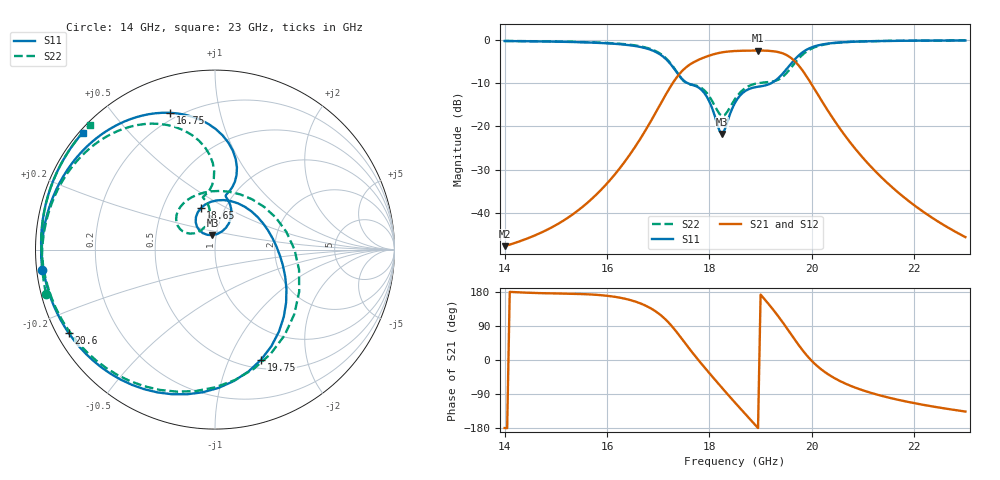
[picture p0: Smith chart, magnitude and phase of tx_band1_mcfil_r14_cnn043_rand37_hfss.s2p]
! Touchstone file exported from HFSS 3D Layout Design 2026.1.0
!  File:  D:/Work/SIM/ADS_AUTO_SIM/projects/RFSOC_RF/TX_Fillter.aedt
!  Generated:  12:44:10 AM Aug 31, 2026
!  Design:  TX_BAND1_MCFIL_R14_CNN043
!  Project:  TX_Fillter
# GHz S MA R 50.000000
! Terminal data exported
! Port[1] = Port1
! Port[2] = Port2
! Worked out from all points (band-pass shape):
!   181 points, 14 GHz to 23 GHz, reference 50 ohm
!   highest |S21| = -2.46 dB at 18.95 GHz (marker M1); lowest = -47.6 dB at 14 GHz (marker M2)
!   |S21| within 3 dB of the highest: 17.65 GHz to 19.71 GHz (2.061 GHz wide, 11 % of centre)
!   lowest |S11| = -21.7 dB at 18.25 GHz (marker M3), VSWR 1.18, Z = 48 + j7.79 ohm
!   |S11| at or under -10 dB: 17.58 GHz to 19.21 GHz (1.629 GHz wide, 8.86 % of centre)
!   |S22| runs from -17.6 to -0.1 dB; largest |S21 - S12| = 4.7e-14
!   S11 on the Smith chart (normalised r, x): 14 GHz: 0.02, -0.06; 16.75 GHz: 0.17, +0.71; 18.65 GHz: 0.77, +0.38; 19.75 GHz: 0.60, -1.32; 20.6 GHz: 0.03, -0.27; 23 GHz: 0.01, +0.38
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14  0.9699 -173.4  0.004153 -179.4  0.004153 -179.4  0.9729 -165.4
15.5  0.9388 154.3  0.01151 174.0  0.01151 174.0  0.9455 164.3
16.2  0.8964 132.9  0.03027 165.7  0.03027 165.7  0.9071 144.5
16.75  0.8026 108.3  0.08993 143.7  0.08993 143.7  0.8177 122.0
17  0.7003 92.9  0.1629 123.5  0.1629 123.5  0.7161 107.7
17.25  0.5185 77.2  0.2949 91.8  0.2949 91.8  0.5284 93.2
17.55  0.3219 77.4  0.4848 40.2  0.4848 40.2  0.317 98.0
17.75  0.2902 76.4  0.5747 5.6  0.5747 5.6  0.2951 102.8
17.9  0.2439 68.3  0.6278 -18.8  0.6278 -18.8  0.2619 99.3
18.25  0.08197 100.1  0.7182 -74.1  0.7182 -74.1  0.1323 123.7
18.5  0.1877 125.0  0.7438 -112.4  0.7438 -112.4  0.2078 150.4
18.65  0.244 108.9  0.749 -134.8  0.749 -134.8  0.2632 144.6
18.95  0.2878 63.5  0.753 -179.6  0.753 -179.6  0.3162 119.4
19.15  0.3055 28.4  0.7481 148.8  0.7481 148.8  0.3254 93.5
19.4  0.3893 -13.4  0.7089 105.3  0.7089 105.3  0.3627 41.1
19.6  0.5359 -44.3  0.6151 67.0  0.6151 67.0  0.4817 -13.5
19.75  0.6651 -67.3  0.501 38.2  0.501 38.2  0.6151 -50.9
20  0.8211 -101.0  0.3044 -2.4  0.3044 -2.4  0.7951 -97.7
20.3  0.9038 -130.0  0.157 -36.1  0.157 -36.1  0.896 -132.6
20.6  0.9382 -150.2  0.0859 -58.8  0.0859 -58.8  0.9373 -154.7
21.5  0.9723 173.1  0.02164 -99.2  0.02164 -99.2  0.9742 168.3
23  0.984 138.6  0.005282 -136.0  0.005282 -136.0  0.9847 135.1
